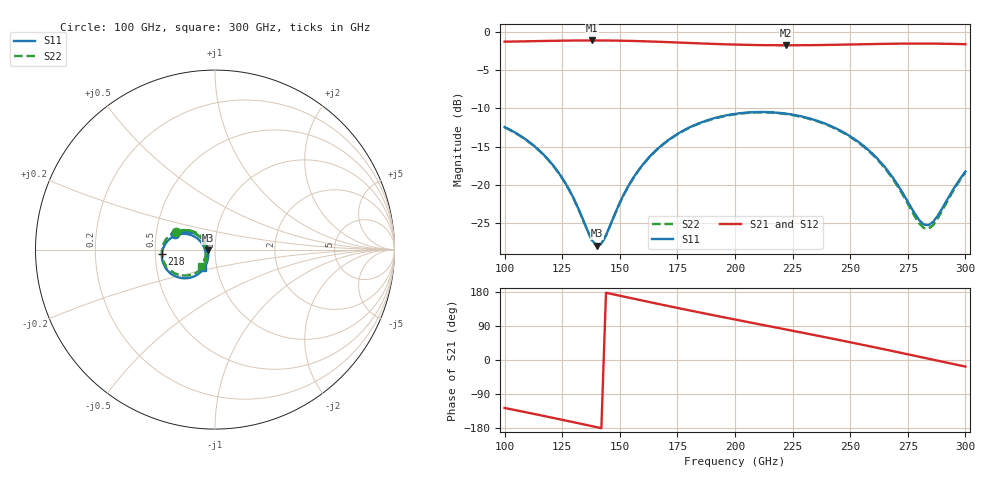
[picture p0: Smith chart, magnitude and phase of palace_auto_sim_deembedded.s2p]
! Created with skrf 1.11.0 (http://scikit-rf.org).
# GHz S DB R 50.0
!freq dBS11 angS11 dBS21 angS21 dBS12 angS12 dBS22 angS22
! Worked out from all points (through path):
!   101 points, 100 GHz to 300 GHz, reference 50 ohm
!   highest |S21| = -1.15 dB at 138 GHz (marker M1); lowest = -1.8 dB at 222 GHz (marker M2)
!   group delay of S21, straight-line fit = 3.46 ps
!   lowest |S11| = -27.9 dB at 140 GHz (marker M3), VSWR 1.08, Z = 46.2 - j0.386 ohm
!   |S11| at or under -10 dB: start of sweep to end of sweep
!   |S22| runs from -28.0 to -10.5 dB; largest |S21 - S12| = 9.9e-14
!   S11 on the Smith chart (normalised r, x): 100 GHz: 0.63, +0.12; 218 GHz: 0.54, -0.03; 300 GHz: 0.85, -0.17
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100  -12.45 158.4  -1.31 -126.6  -1.31 -126.6  -12.49 155.7
110  -14.24 148.8  -1.25 -138.9  -1.25 -138.9  -14.28 145.8
120  -17.06 141.5  -1.20 -151.5  -1.20 -151.5  -17.10 138.2
128  -20.61 140.6  -1.16 -161.7  -1.16 -161.7  -20.65 137.0
134  -24.49 149.9  -1.15 -169.5  -1.15 -169.5  -24.55 146.2
138  -27.24 170.0  -1.15 -174.7  -1.15 -174.7  -27.30 166.2
140  -27.92 -174.0  -1.15 -177.3  -1.15 -177.3  -27.99 -177.9
144  -26.56 -143.2  -1.15 177.5  -1.15 177.5  -26.63 -147.0
150  -22.31 -123.5  -1.18 169.6  -1.18 169.6  -22.36 -127.6
156  -19.00 -120.3  -1.22 161.8  -1.22 161.8  -19.05 -124.5
168  -14.86 -126.6  -1.33 146.3  -1.33 146.3  -14.91 -131.2
184  -12.00 -141.4  -1.52 126.3  -1.52 126.3  -12.05 -146.4
200  -10.73 -157.4  -1.68 106.9  -1.68 106.9  -10.78 -162.9
218  -10.56 -175.3  -1.77 85.4  -1.77 85.4  -10.62 178.6
222  -10.69 -179.3  -1.77 80.7  -1.77 80.7  -10.75 174.6
234  -11.47 169.2  -1.75 66.3  -1.75 66.3  -11.53 162.6
254  -14.48 152.3  -1.65 41.8  -1.65 41.8  -14.57 144.9
268  -18.84 148.0  -1.58 24.1  -1.58 24.1  -18.99 139.8
280  -24.60 173.3  -1.55 8.6  -1.55 8.6  -25.03 165.1
284  -25.24 -164.3  -1.56 3.4  -1.56 3.4  -25.71 -171.4
288  -24.02 -143.9  -1.57 -1.8  -1.57 -1.8  -24.37 -150.1
300  -18.25 -124.5  -1.63 -17.4  -1.63 -17.4  -18.38 -131.3
